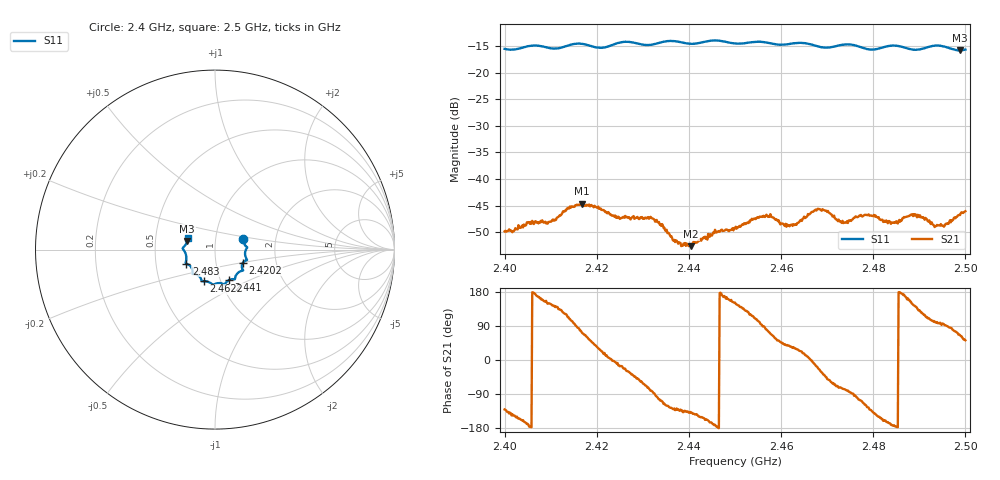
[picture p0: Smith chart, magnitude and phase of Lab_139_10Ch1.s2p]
# Hz S RI R 50
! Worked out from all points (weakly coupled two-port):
!   601 points, 2.4 GHz to 2.5 GHz, reference 50 ohm
!   highest |S21| = -44.64 dB at 2.4168 GHz (marker M1); lowest = -52.6 dB at 2.4405 GHz (marker M2)
!   lowest |S11| = -15.8 dB at 2.4988 GHz (marker M3), VSWR 1.39, Z = 36.4 + j3.46 ohm
!   |S11| at or under -10 dB: start of sweep to end of sweep
!   S12 and S22 are empty: the file has one direction only
!   S11 on the Smith chart (normalised r, x): 2.4 GHz: 1.36, +0.17; 2.4202 GHz: 1.35, -0.20; 2.441 GHz: 1.10, -0.39; 2.4622 GHz: 0.83, -0.30; 2.483 GHz: 0.72, -0.12; 2.5 GHz: 0.73, +0.09
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2.4e9  0.1562 0.0604  -0.00209 -0.00245  0 0  0 0
2.4095e9  0.1712 -0.00266  -0.00339 0.00202  0 0  0 0
2.416667e9  0.1778 -0.0583  0.00151 0.00552  0 0  0 0
2.416833e9  0.1773 -0.0586  0.00187 0.00556  0 0  0 0
2.420167e9  0.1562 -0.0719  0.00454 0.00286  0 0  0 0
2.433333e9  0.1129 -0.1523  -0.000778 -0.00382  0 0  0 0
2.437e9  0.1082 -0.1655  -0.00172 -0.00189  0 0  0 0
2.4405e9  0.0818 -0.1681  -0.00175 -0.00155  0 0  0 0
2.441e9  0.077 -0.1703  -0.00203 -0.00159  0 0  0 0
2.45e9  0.0266 -0.1865  -0.00302 0.00164  0 0  0 0
2.457167e9  -0.0195 -0.19  0.00105 0.00428  0 0  0 0
2.462167e9  -0.0628 -0.1765  0.00304 0.00214  0 0  0 0
2.466667e9  -0.0766 -0.167  0.00491 -0.000131  0 0  0 0
2.4695e9  -0.092 -0.1454  0.00378 -0.00337  0 0  0 0
2.4735e9  -0.123 -0.1364  0.000906 -0.00374  0 0  0 0
2.4785e9  -0.1277 -0.1083  -0.00236 -0.00396  0 0  0 0
2.483e9  -0.1591 -0.0781  -0.00379 -0.00109  0 0  0 0
2.483333e9  -0.1606 -0.0774  -0.00391 -0.000939  0 0  0 0
2.488667e9  -0.1598 -0.0396  -0.00372 0.0025  0 0  0 0
2.495e9  -0.1774 0.0107  -0.000403 0.00362  0 0  0 0
2.498833e9  -0.1552 0.0462  0.00189 0.00417  0 0  0 0
2.5e9  -0.1527 0.0627  0.00307 0.00392  0 0  0 0
